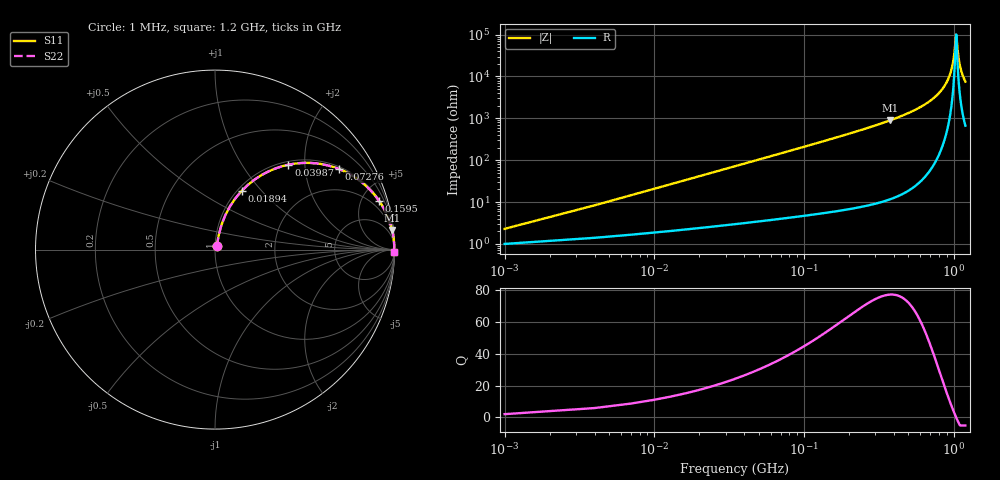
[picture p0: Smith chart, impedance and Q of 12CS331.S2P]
! Coilcraft 1206CS-331 Chip Inductor
! 29 July 2002
# MHZ S MA R 50
!Freq  MagS11  AngS11  MagS21  AngS21  MagS12  AngS12  MagS22  AngS22
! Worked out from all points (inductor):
!   403 points, 1 MHz to 1.2 GHz, reference 50 ohm
!   read as one part in series: L = 329 nH near 6.98 MHz
!   highest Q = 76.9 at 377.7 MHz (marker M1), where L = 379 nH
!   self-resonance near 1.039 GHz
!   S11 on the Smith chart (normalised r, x): 1 MHz: 1.02, +0.04; 18.94 MHz: 1.05, +0.78; 39.87 MHz: 1.06, +1.65; 72.76 MHz: 1.08, +3.02; 159.5 MHz: 1.12, +6.75; 1.2 GHz: open
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1  0.02274 63.0  0.9899 -1.2  0.9899 -1.2  0.02274 63.0
9.97  0.1991 73.4  0.9622 -11.4  0.9622 -11.4  0.1991 73.4
18.94  0.358 65.6  0.9125 -20.9  0.9125 -20.9  0.358 65.6
39.87  0.6253 49.2  0.757 -38.7  0.757 -38.7  0.6253 49.2
72.76  0.824 33.0  0.545 -55.5  0.545 -55.5  0.824 33.0
108.64  0.908 23.6  0.3998 -65.2  0.3998 -65.2  0.908 23.6
159.47  0.9543 16.4  0.2826 -72.6  0.2826 -72.6  0.9543 16.4
201.33  0.9709 13.0  0.2246 -76.1  0.2246 -76.1  0.9709 13.0
377.74  0.9925 6.3  0.1104 -82.9  0.1104 -82.9  0.9925 6.3
401.66  0.9935 5.8  0.1018 -83.4  0.1018 -83.4  0.9935 5.8
601.99  0.9977 3.1  0.05338 -86.0  0.05338 -86.0  0.9977 3.1
802.32  0.9989 1.4  0.02449 -86.6  0.02449 -86.6  0.9989 1.4
930.89  0.999 0.6  0.01047 -84.5  0.01047 -84.5  0.999 0.6
972.75  0.999 0.4  0.006404 -81.3  0.006404 -81.3  0.999 0.4
1002.65  0.999 0.2  0.00365 -74.6  0.00365 -74.6  0.999 0.2
1035.54  0.999 0.0  0.001117 -28.1  0.001117 -28.1  0.999 0.0
1041.52  0.999 -0.0  0.0009904 0.4  0.0009904 0.4  0.999 -0.0
1047.5  0.999 -0.0  0.001132 28.3  0.001132 28.3  0.999 -0.0
1074.41  0.999 -0.2  0.003067 70.3  0.003067 70.3  0.999 -0.2
1101.32  0.9989 -0.3  0.005294 78.2  0.005294 78.2  0.9989 -0.3
1143.18  0.9989 -0.5  0.008728 82.3  0.008728 82.3  0.9989 -0.5
1200  0.9987 -0.8  0.01324 84.2  0.01324 84.2  0.9987 -0.8
